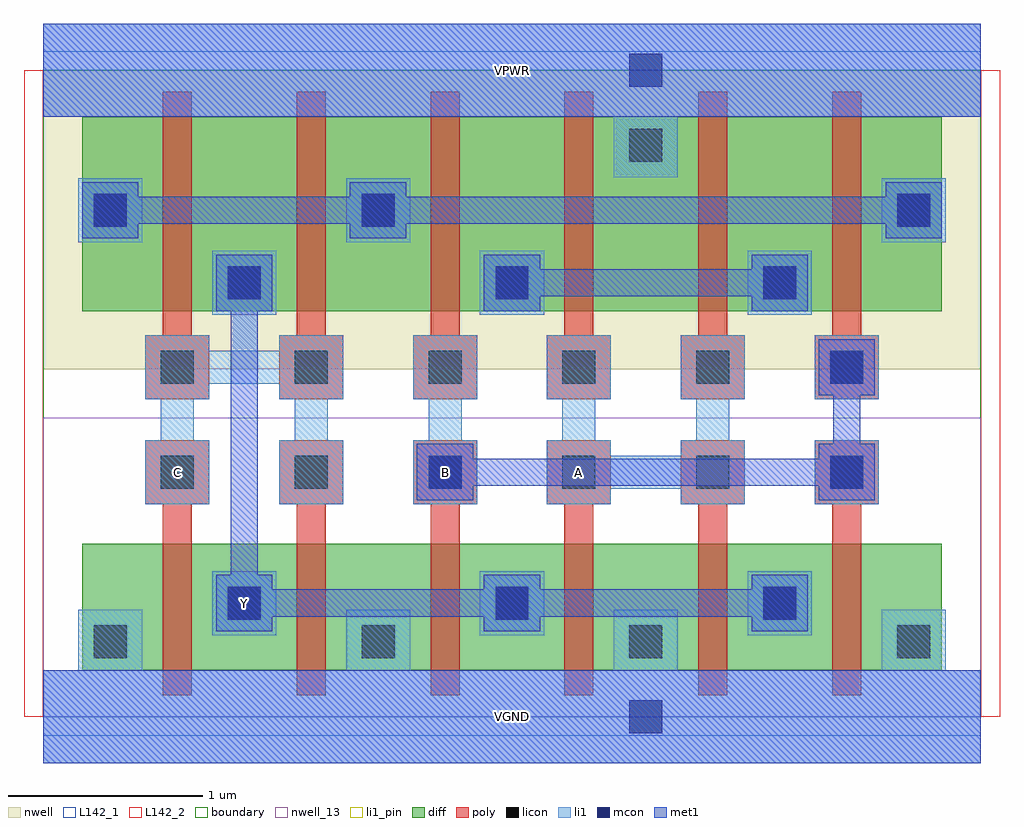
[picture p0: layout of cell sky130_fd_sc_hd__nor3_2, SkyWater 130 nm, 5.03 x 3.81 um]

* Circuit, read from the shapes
.subckt sky130_fd_sc_hd__nor3_2 A B C VGND VPWR Y
XM1 Y C VGND VSUBS sky130_fd_pr__nfet_01v8 w=0.65 l=0.15 m=2
XM2 Y B VGND VSUBS sky130_fd_pr__nfet_01v8 w=0.65 l=0.15 m=2
XM3 VGND A Y VSUBS sky130_fd_pr__nfet_01v8 w=0.65 l=0.15 m=2
XM4 Y C n1 n2 sky130_fd_pr__pfet_01v8 w=1 l=0.15 m=2
XM5 n3 B n1 n2 sky130_fd_pr__pfet_01v8 w=1 l=0.15 m=2
XM6 VPWR A n3 n2 sky130_fd_pr__pfet_01v8 w=1 l=0.15 m=2
.ends

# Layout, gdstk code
import gdstk
lib = gdstk.Library(unit=1e-6, precision=1e-09)
def R(c, l, rs):  # rectangles x0, y0, x1, y1
    for r in rs: c.add(gdstk.rectangle(r[:2], r[2:], *l))
def A(c, l, x, y, w, h, nx, ny, dx, dy):  # array of equal rectangles
    R(c, l, [(x+i*dx, y+j*dy, x+i*dx+w, y+j*dy+h) for i in range(nx) for j in range(ny)])
def P(c, l, *ps):  # polygons
    for p in ps: c.add(gdstk.Polygon(p, *l))
nwell_13 = (64, 13)
nwell = (64, 20)
diff = (65, 20)
poly = (66, 20)
licon = (66, 44)
li1_pin = (67, 16)
li1 = (67, 20)
mcon = (67, 44)
met1 = (68, 20)
L142_1 = (142, 1)
L142_2 = (142, 2)
boundary = (235, 4)

sky130_fd_sc_hd__nor3_2 = lib.new_cell('sky130_fd_sc_hd__nor3_2')
R(sky130_fd_sc_hd__nor3_2, nwell_13, [(0,0,4.83,1.54)])
R(sky130_fd_sc_hd__nor3_2, nwell, [(0,1.79,4.83,3.33)])
A(sky130_fd_sc_hd__nor3_2, diff, 0.615, 0.24, 0.69, 0.65, 5, 1, 0.69, 0)
A(sky130_fd_sc_hd__nor3_2, diff, 0.615, 2.09, 0.69, 1, 5, 1, 0.69, 0)
R(sky130_fd_sc_hd__nor3_2, diff, [(0.2,0.24,4.63,0.89), (0.2,0.24,0.615,0.89), (4.065,0.24,4.63,0.89), (0.2,2.09,4.63,3.09), (0.2,2.09,0.615,3.09), (4.065,2.09,4.63,3.09)])
P(sky130_fd_sc_hd__nor3_2, poly, [(1.995,0.11),(1.995,1.095),(1.905,1.095),(1.905,1.425),(2.235,1.425),(2.235,1.095),(2.145,1.095),(2.145,0.11)],
  [(4.065,0.11),(4.065,1.095),(3.975,1.095),(3.975,1.425),(4.305,1.425),(4.305,1.095),(4.215,1.095),(4.215,0.11)],
  [(1.905,1.635),(1.905,1.965),(1.995,1.965),(1.995,3.22),(2.145,3.22),(2.145,1.965),(2.235,1.965),(2.235,1.635)],
  [(3.975,1.635),(3.975,1.965),(4.065,1.965),(4.065,3.22),(4.215,3.22),(4.215,1.965),(4.305,1.965),(4.305,1.635)],
  [(0.615,0.11),(0.615,1.095),(0.525,1.095),(0.525,1.425),(0.855,1.425),(0.855,1.095),(0.765,1.095),(0.765,0.11)],
  [(1.305,0.11),(1.305,1.095),(1.215,1.095),(1.215,1.425),(1.545,1.425),(1.545,1.095),(1.455,1.095),(1.455,0.11)],
  [(0.525,1.635),(0.525,1.965),(0.615,1.965),(0.615,3.22),(0.765,3.22),(0.765,1.965),(0.855,1.965),(0.855,1.635)],
  [(1.215,1.635),(1.215,1.965),(1.305,1.965),(1.305,3.22),(1.455,3.22),(1.455,1.965),(1.545,1.965),(1.545,1.635)],
  [(2.685,0.11),(2.685,1.095),(2.595,1.095),(2.595,1.425),(2.925,1.425),(2.925,1.095),(2.835,1.095),(2.835,0.11)],
  [(3.375,0.11),(3.375,1.095),(3.285,1.095),(3.285,1.425),(3.615,1.425),(3.615,1.095),(3.525,1.095),(3.525,0.11)],
  [(2.595,1.635),(2.595,1.965),(2.685,1.965),(2.685,3.22),(2.835,3.22),(2.835,1.965),(2.925,1.965),(2.925,1.635)],
  [(3.285,1.635),(3.285,1.965),(3.375,1.965),(3.375,3.22),(3.525,3.22),(3.525,1.965),(3.615,1.965),(3.615,1.635)])
A(sky130_fd_sc_hd__nor3_2, licon, 0.26, 0.3, 0.17, 0.17, 4, 1, 1.38, 0)
A(sky130_fd_sc_hd__nor3_2, licon, 0.95, 0.5, 0.17, 0.17, 3, 2, 1.38, 1.65)
A(sky130_fd_sc_hd__nor3_2, licon, 0.605, 1.175, 0.17, 0.17, 6, 2, 0.69, 0.54)
R(sky130_fd_sc_hd__nor3_2, licon, [(0.26,2.525,0.43,2.695), (1.64,2.525,1.81,2.695), (4.4,2.525,4.57,2.695), (3.02,2.86,3.19,3.03)])
R(sky130_fd_sc_hd__nor3_2, li1_pin, [(0,-0.24,4.83,0.24), (0.87,0.42,1.2,0.75), (0,3.09,4.83,3.57)])
P(sky130_fd_sc_hd__nor3_2, li1_pin, [(2.595,1.095),(2.595,1.425),(2.675,1.425),(2.675,1.635),(2.595,1.635),(2.595,1.965),(2.925,1.965),(2.925,1.635),(2.845,1.635),(2.845,1.425),(2.925,1.425),(2.925,1.345),(3.285,1.345),(3.285,1.425),(3.365,1.425),(3.365,1.635),(3.285,1.635),(3.285,1.965),(3.615,1.965),(3.615,1.635),(3.535,1.635),(3.535,1.425),(3.615,1.425),(3.615,1.095),(3.285,1.095),(3.285,1.175),(2.925,1.175),(2.925,1.095)],
  [(0.525,1.095),(0.525,1.425),(0.605,1.425),(0.605,1.635),(0.525,1.635),(0.525,1.965),(0.855,1.965),(0.855,1.885),(1.215,1.885),(1.215,1.965),(1.545,1.965),(1.545,1.635),(1.465,1.635),(1.465,1.425),(1.545,1.425),(1.545,1.095),(1.215,1.095),(1.215,1.425),(1.295,1.425),(1.295,1.635),(1.215,1.635),(1.215,1.715),(0.855,1.715),(0.855,1.635),(0.775,1.635),(0.775,1.425),(0.855,1.425),(0.855,1.095)],
  [(1.905,1.095),(1.905,1.425),(1.985,1.425),(1.985,1.635),(1.905,1.635),(1.905,1.965),(2.235,1.965),(2.235,1.635),(2.155,1.635),(2.155,1.425),(2.235,1.425),(2.235,1.095)])
A(sky130_fd_sc_hd__nor3_2, li1, 0.87, 0.42, 0.33, 0.33, 3, 2, 1.38, 1.65)
R(sky130_fd_sc_hd__nor3_2, li1, [(3.975,1.095,4.305,1.425), (3.975,1.635,4.305,1.965), (0.18,2.445,0.51,2.775), (1.56,2.445,1.89,2.775), (4.32,2.445,4.65,2.775)])
P(sky130_fd_sc_hd__nor3_2, li1, [(1.905,1.095),(1.905,1.425),(1.985,1.425),(1.985,1.635),(1.905,1.635),(1.905,1.965),(2.235,1.965),(2.235,1.635),(2.155,1.635),(2.155,1.425),(2.235,1.425),(2.235,1.095)],
  [(2.94,2.78),(2.94,3.09),(0,3.09),(0,3.57),(4.83,3.57),(4.83,3.09),(3.27,3.09),(3.27,2.78)],
  [(0.525,1.095),(0.525,1.425),(0.605,1.425),(0.605,1.635),(0.525,1.635),(0.525,1.965),(0.855,1.965),(0.855,1.885),(1.215,1.885),(1.215,1.965),(1.545,1.965),(1.545,1.635),(1.465,1.635),(1.465,1.425),(1.545,1.425),(1.545,1.095),(1.215,1.095),(1.215,1.425),(1.295,1.425),(1.295,1.635),(1.215,1.635),(1.215,1.715),(0.855,1.715),(0.855,1.635),(0.775,1.635),(0.775,1.425),(0.855,1.425),(0.855,1.095)],
  [(0,-0.24),(0,0.24),(0.18,0.24),(0.18,0.55),(0.51,0.55),(0.51,0.24),(1.56,0.24),(1.56,0.55),(1.89,0.55),(1.89,0.24),(2.94,0.24),(2.94,0.55),(3.27,0.55),(3.27,0.24),(4.32,0.24),(4.32,0.55),(4.65,0.55),(4.65,0.24),(4.83,0.24),(4.83,-0.24)],
  [(2.595,1.095),(2.595,1.425),(2.675,1.425),(2.675,1.635),(2.595,1.635),(2.595,1.965),(2.925,1.965),(2.925,1.635),(2.845,1.635),(2.845,1.425),(2.925,1.425),(2.925,1.345),(3.285,1.345),(3.285,1.425),(3.365,1.425),(3.365,1.635),(3.285,1.635),(3.285,1.965),(3.615,1.965),(3.615,1.635),(3.535,1.635),(3.535,1.425),(3.615,1.425),(3.615,1.095),(3.285,1.095),(3.285,1.175),(2.925,1.175),(2.925,1.095)])
A(sky130_fd_sc_hd__nor3_2, mcon, 0.95, 0.5, 0.17, 0.17, 3, 2, 1.38, 1.65)
R(sky130_fd_sc_hd__nor3_2, mcon, [(3.02,-0.085,3.19,0.085), (1.985,1.175,2.155,1.345), (4.055,1.175,4.225,1.345), (4.055,1.715,4.225,1.885), (0.26,2.525,0.43,2.695), (1.64,2.525,1.81,2.695), (4.4,2.525,4.57,2.695), (3.02,3.245,3.19,3.415)])
R(sky130_fd_sc_hd__nor3_2, met1, [(0,-0.24,4.83,0.24), (0,3.09,4.83,3.57)])
P(sky130_fd_sc_hd__nor3_2, met1, [(1.925,1.115),(1.925,1.405),(2.215,1.405),(2.215,1.33),(3.995,1.33),(3.995,1.405),(4.07,1.405),(4.07,1.655),(3.995,1.655),(3.995,1.945),(4.285,1.945),(4.285,1.655),(4.21,1.655),(4.21,1.405),(4.285,1.405),(4.285,1.115),(3.995,1.115),(3.995,1.19),(2.215,1.19),(2.215,1.115)],
  [(0.89,0.44),(0.89,0.73),(0.965,0.73),(0.965,2.09),(0.89,2.09),(0.89,2.38),(1.18,2.38),(1.18,2.09),(1.105,2.09),(1.105,0.73),(1.18,0.73),(1.18,0.655),(2.27,0.655),(2.27,0.73),(2.56,0.73),(2.56,0.655),(3.65,0.655),(3.65,0.73),(3.94,0.73),(3.94,0.44),(3.65,0.44),(3.65,0.515),(2.56,0.515),(2.56,0.44),(2.27,0.44),(2.27,0.515),(1.18,0.515),(1.18,0.44)],
  [(2.27,2.09),(2.27,2.38),(2.56,2.38),(2.56,2.305),(3.65,2.305),(3.65,2.38),(3.94,2.38),(3.94,2.09),(3.65,2.09),(3.65,2.165),(2.56,2.165),(2.56,2.09)],
  [(0.2,2.465),(0.2,2.755),(0.49,2.755),(0.49,2.68),(1.58,2.68),(1.58,2.755),(1.87,2.755),(1.87,2.68),(4.34,2.68),(4.34,2.755),(4.63,2.755),(4.63,2.465),(4.34,2.465),(4.34,2.54),(1.87,2.54),(1.87,2.465),(1.58,2.465),(1.58,2.54),(0.49,2.54),(0.49,2.465)])
R(sky130_fd_sc_hd__nor3_2, L142_1, [(0,-0.1,4.83,0), (0,3.33,4.83,3.43)])
R(sky130_fd_sc_hd__nor3_2, L142_2, [(-0.1,0,0,3.33), (4.83,0,4.93,3.33)])
R(sky130_fd_sc_hd__nor3_2, boundary, [(0,0,4.83,3.33)])
sky130_fd_sc_hd__nor3_2.add(gdstk.Label('Y', (1.035,0.585), layer=67, texttype=5))
sky130_fd_sc_hd__nor3_2.add(gdstk.Label('A', (2.76,1.26), layer=67, texttype=5))
sky130_fd_sc_hd__nor3_2.add(gdstk.Label('C', (0.69,1.26), layer=67, texttype=5))
sky130_fd_sc_hd__nor3_2.add(gdstk.Label('B', (2.07,1.26), layer=67, texttype=5))
sky130_fd_sc_hd__nor3_2.add(gdstk.Label('VGND', (2.415,0), layer=67, texttype=5))
sky130_fd_sc_hd__nor3_2.add(gdstk.Label('VPWR', (2.415,3.33), layer=67, texttype=5))
sky130_fd_sc_hd__nor3_2.add(gdstk.Label('VGND', (2.415,0), layer=68, texttype=5))
sky130_fd_sc_hd__nor3_2.add(gdstk.Label('VPWR', (2.415,3.33), layer=68, texttype=5))

lib.write_gds('sky130_fd_sc_hd__nor3_2.gds')
